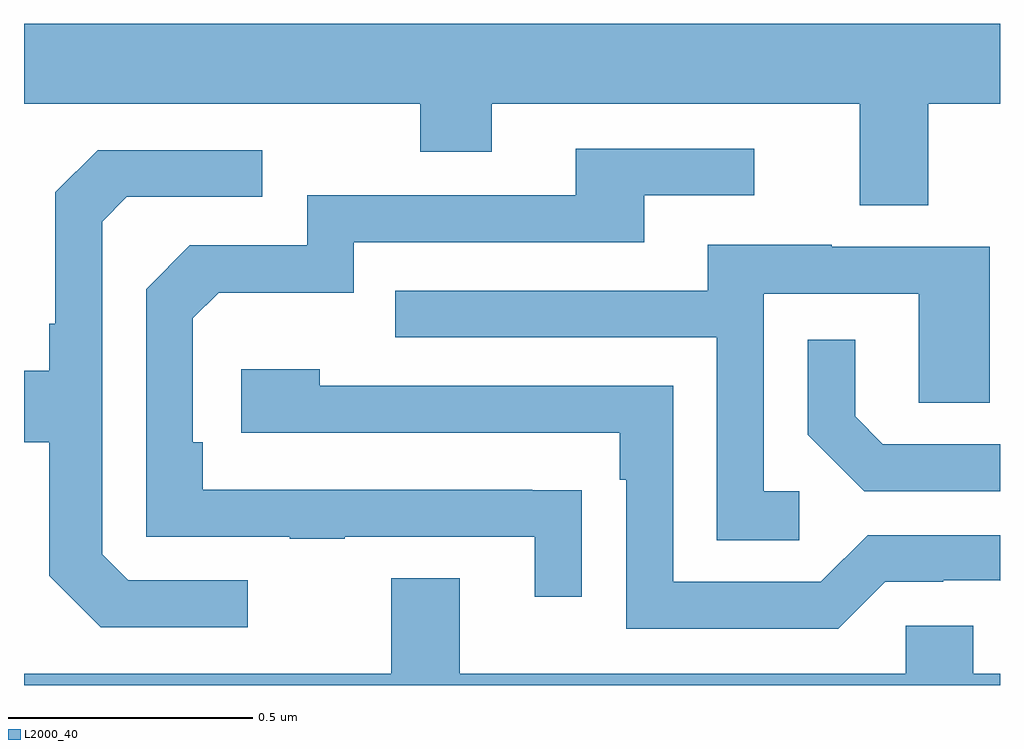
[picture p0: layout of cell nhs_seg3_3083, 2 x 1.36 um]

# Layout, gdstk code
import gdstk
lib = gdstk.Library(unit=1e-6, precision=1e-09)
def P(c, l, *ps):  # polygons
    for p in ps: c.add(gdstk.Polygon(p, *l))
L2000_40 = (2000, 40)

nhs_seg3_3083 = lib.new_cell('nhs_seg3_3083')
P(nhs_seg3_3083, L2000_40, [(150.853,691.592),(151,691.592),(151,691.756),(149,691.756),(149,691.592),(149.812,691.592),(149.812,691.493),(149.959,691.493),(149.959,691.592),(150.713,691.592),(150.713,691.384),(150.853,691.384)],
  [(150.143,690.8),(150.041,690.8),(150.041,690.801),(149.366,690.801),(149.366,690.898),(149.346,690.898),(149.346,691.152),(149.399,691.205),(149.676,691.205),(149.676,691.308),(150.271,691.308),(150.271,691.404),(150.496,691.404),(150.496,691.5),(150.131,691.5),(150.131,691.404),(149.58,691.404),(149.58,691.302),(149.34,691.302),(149.25,691.212),(149.25,690.705),(149.545,690.705),(149.545,690.7),(149.657,690.7),(149.657,690.705),(150.047,690.705),(150.047,690.582),(150.143,690.582)],
  [(149.458,690.615),(149.214,690.615),(149.16,690.669),(149.16,691.35),(149.211,691.401),(149.488,691.401),(149.488,691.497),(149.151,691.497),(149.064,691.41),(149.064,691.141),(149.052,691.141),(149.052,691.045),(149,691.045),(149,690.898),(149.052,690.898),(149.052,690.625),(149.157,690.519),(149.458,690.519)],
  [(150.589,690.798),(150.516,690.798),(150.516,691.203),(150.834,691.203),(150.834,690.979),(150.979,690.979),(150.979,691.299),(150.655,691.299),(150.655,691.303),(150.401,691.303),(150.401,691.209),(149.761,691.209),(149.761,691.113),(150.42,691.113),(150.42,690.697),(150.589,690.697)],
  [(151,690.894),(150.76,690.894),(150.703,690.951),(150.703,691.108),(150.606,691.108),(150.606,690.914),(150.722,690.798),(151,690.798)],
  [(150.765,690.612),(150.884,690.612),(150.884,690.615),(150.999,690.615),(151,690.614),(151,690.708),(150.729,690.708),(150.633,690.612),(150.33,690.612),(150.33,691.014),(149.606,691.014),(149.606,691.048),(149.445,691.048),(149.445,690.918),(150.221,690.918),(150.221,690.821),(150.234,690.821),(150.234,690.516),(150.669,690.516)],
  [(151,690.424),(150.945,690.424),(150.945,690.522),(150.807,690.522),(150.807,690.424),(149.893,690.424),(149.893,690.619),(149.753,690.619),(149.753,690.424),(149,690.424),(149,690.4),(151,690.4)])

lib.write_gds('nhs_seg3_3083.gds')
